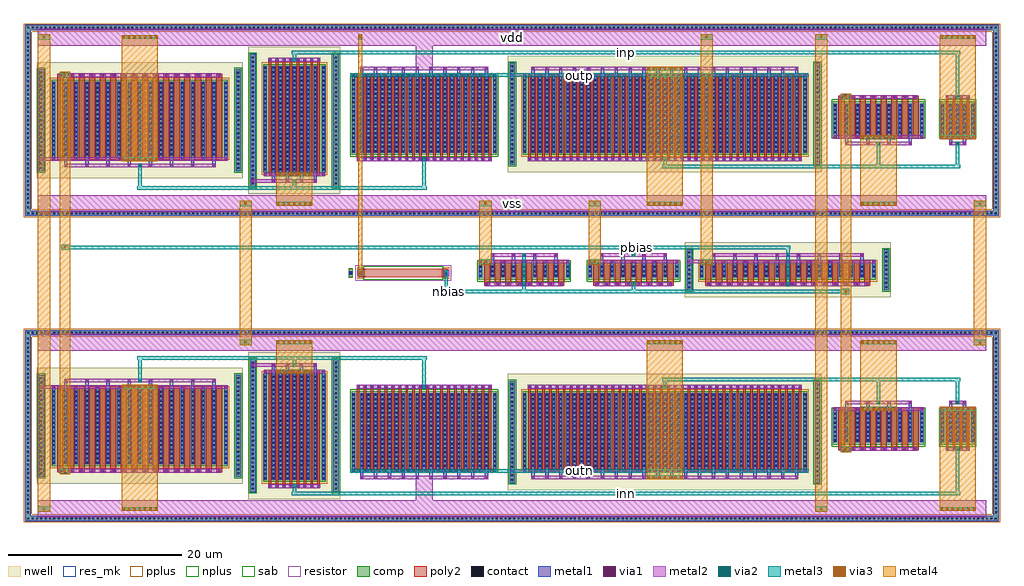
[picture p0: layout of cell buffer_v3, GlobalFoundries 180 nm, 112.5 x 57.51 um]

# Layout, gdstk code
import gdstk
lib = gdstk.Library(unit=1e-6, precision=1e-09)
def R(c, l, rs):  # rectangles x0, y0, x1, y1
    for r in rs: c.add(gdstk.rectangle(r[:2], r[2:], *l))
def A(c, l, x, y, w, h, nx, ny, dx, dy):  # array of equal rectangles
    R(c, l, [(x+i*dx, y+j*dy, x+i*dx+w, y+j*dy+h) for i in range(nx) for j in range(ny)])
nwell = (21, 0)
comp = (22, 0)
poly2 = (30, 0)
pplus = (31, 0)
nplus = (32, 0)
contact = (33, 0)
metal1 = (34, 0)
via1 = (35, 0)
metal2 = (36, 0)
via2 = (38, 0)
via3 = (40, 0)
metal3 = (42, 0)
metal4 = (46, 0)
sab = (49, 0)
resistor = (62, 0)
res_mk = (110, 5)

bufhalf = lib.new_cell('bufhalf')
R(bufhalf, nwell, [(25.61,-8.835,36.21,8.1), (1.23,-7.065,24.95,6.335), (26.88,-6.85,34.94,6.53), (55.51,-6.335,91.71,7.065), (2.5,-5.115,23.68,4.765), (56.78,-4.765,90.44,5.115)])
R(bufhalf, comp, [(-0.1,-11.365,112.08,-10.765), (-0.1,-10.765,0.5,10.03), (111.48,-10.765,112.08,10.03), (25.81,-8.015,26.43,7.28), (35.39,-8.015,36.01,7.28), (27.32,-6.41,27.78,6.09), (27.78,-6.41,34.04,6.09), (34.04,-6.41,34.5,6.09), (1.43,-6.245,2.05,5.515), (24.13,-6.245,24.75,5.515), (55.71,-5.515,56.33,6.245), (90.89,-5.515,91.51,6.245), (2.94,-4.675,3.4,4.325), (3.4,-4.675,22.78,4.325), (22.78,-4.675,23.24,4.325), (37.51,-4.33,37.93,4.67), (37.93,-4.33,53.79,4.67), (53.79,-4.33,54.21,4.67), (57.22,-4.325,57.68,4.675), (57.68,-4.325,89.54,4.675), (89.54,-4.325,90,4.675), (93.01,-2.195,93.43,1.805), (93.43,-2.195,103.05,1.805), (103.05,-2.195,103.47,1.805), (105.41,-2.195,105.83,1.805), (105.83,-2.195,108.89,1.805), (108.89,-2.195,109.31,1.805), (-0.1,10.03,112.08,10.63)])
A(bufhalf, poly2, 27.97, -6.71, 0.28, 13.1, 8, 1, 0.8, 0)
A(bufhalf, poly2, 57.82, -5.005, 0.38, 0.38, 40, 1, 0.8, 0)
A(bufhalf, poly2, 38.08, -4.99, 0.36, 0.36, 20, 1, 0.8, 0)
A(bufhalf, poly2, 3.59, -4.975, 0.7, 9.6, 16, 1, 1.22, 0)
A(bufhalf, poly2, 38.12, -4.63, 0.28, 9.6, 20, 1, 0.8, 0)
A(bufhalf, poly2, 57.87, -4.625, 0.28, 9.6, 40, 1, 0.8, 0)
A(bufhalf, poly2, 93.62, -2.495, 0.7, 4.6, 8, 1, 1.22, 0)
A(bufhalf, poly2, 106.02, -2.495, 0.28, 4.6, 4, 1, 0.8, 0)
A(bufhalf, poly2, 93.62, 2.105, 0.7, 0.36, 8, 1, 1.22, 0)
A(bufhalf, poly2, 105.98, 2.105, 0.36, 0.36, 4, 1, 0.8, 0)
A(bufhalf, poly2, 3.59, 4.625, 0.7, 0.38, 16, 1, 1.22, 0)
A(bufhalf, poly2, 27.92, 6.39, 0.38, 0.38, 8, 1, 0.8, 0)
R(bufhalf, pplus, [(-0.26,-11.525,112.24,-10.605), (-0.26,-10.925,0.66,10.19), (111.32,-10.925,112.24,10.19), (27.15,-6.65,34.67,6.33), (2.77,-4.915,23.41,4.565), (57.05,-4.565,90.17,4.915), (-0.26,9.87,112.24,10.79)])
R(bufhalf, nplus, [(25.65,-8.175,26.59,7.44), (35.23,-8.175,36.17,7.44), (1.27,-6.405,2.21,5.675), (23.97,-6.405,24.91,5.675), (55.55,-5.675,56.49,6.405), (90.73,-5.675,91.67,6.405), (37.34,-4.57,54.38,4.91), (92.84,-2.435,103.64,2.045), (105.24,-2.435,109.48,2.045)])
A(bufhalf, contact, 0.13, -11.175, 0.22, 0.22, 224, 2, 0.5, 21.395)
A(bufhalf, contact, 0.09, -10.48, 0.22, 0.22, 1, 11, 0, 0.5)
A(bufhalf, contact, 111.67, -10.48, 0.22, 0.22, 1, 11, 0, 0.5)
A(bufhalf, contact, 26.01, -7.73, 0.22, 0.22, 1, 5, 0, 0.5)
A(bufhalf, contact, 35.59, -7.73, 0.22, 0.22, 1, 5, 0, 0.5)
A(bufhalf, contact, 27.44, -6.135, 0.22, 0.22, 1, 24, 0, 0.51)
A(bufhalf, contact, 28.4, -6.135, 0.22, 0.22, 7, 24, 0.8, 0.51)
A(bufhalf, contact, 34.16, -6.135, 0.22, 0.22, 1, 24, 0, 0.51)
A(bufhalf, contact, 1.63, -5.975, 0.22, 0.22, 1, 23, 0, 0.5)
A(bufhalf, contact, 24.33, -5.975, 0.22, 0.22, 1, 23, 0, 0.5)
A(bufhalf, contact, 55.91, -5.245, 0.22, 0.22, 1, 23, 0, 0.5)
A(bufhalf, contact, 91.09, -5.245, 0.22, 0.22, 1, 23, 0, 0.5)
A(bufhalf, contact, 26.01, -5.225, 0.22, 0.22, 1, 16, 0, 0.5)
A(bufhalf, contact, 35.59, -5.225, 0.22, 0.22, 1, 16, 0, 0.5)
A(bufhalf, contact, 0.09, -4.975, 0.22, 0.22, 1, 15, 0, 0.5)
A(bufhalf, contact, 111.67, -4.975, 0.22, 0.22, 1, 15, 0, 0.5)
A(bufhalf, contact, 57.9, -4.925, 0.22, 0.22, 40, 1, 0.8, 0)
A(bufhalf, contact, 38.15, -4.92, 0.22, 0.22, 20, 1, 0.8, 0)
A(bufhalf, contact, 3.06, -4.365, 0.22, 0.22, 1, 17, 0, 0.51)
A(bufhalf, contact, 4.44, -4.365, 0.22, 0.22, 15, 17, 1.22, 0.51)
A(bufhalf, contact, 22.9, -4.365, 0.22, 0.22, 1, 17, 0, 0.51)
A(bufhalf, contact, 37.61, -4.02, 0.22, 0.22, 1, 17, 0, 0.51)
A(bufhalf, contact, 38.55, -4.02, 0.22, 0.22, 19, 17, 0.8, 0.51)
A(bufhalf, contact, 53.89, -4.02, 0.22, 0.22, 1, 17, 0, 0.51)
A(bufhalf, contact, 57.34, -4.015, 0.22, 0.22, 1, 17, 0, 0.51)
A(bufhalf, contact, 58.3, -4.015, 0.22, 0.22, 39, 17, 0.8, 0.51)
A(bufhalf, contact, 89.66, -4.015, 0.22, 0.22, 1, 17, 0, 0.51)
A(bufhalf, contact, 93.11, -1.835, 0.22, 0.22, 1, 7, 0, 0.51)
A(bufhalf, contact, 94.47, -1.835, 0.22, 0.22, 7, 7, 1.22, 0.51)
A(bufhalf, contact, 103.15, -1.835, 0.22, 0.22, 1, 7, 0, 0.51)
A(bufhalf, contact, 105.51, -1.835, 0.22, 0.22, 1, 7, 0, 0.51)
A(bufhalf, contact, 106.45, -1.835, 0.22, 0.22, 3, 7, 0.8, 0.51)
A(bufhalf, contact, 108.99, -1.835, 0.22, 0.22, 1, 7, 0, 0.51)
A(bufhalf, contact, 93.86, 2.175, 0.22, 0.22, 8, 1, 1.22, 0)
A(bufhalf, contact, 106.05, 2.175, 0.22, 0.22, 4, 1, 0.8, 0)
A(bufhalf, contact, 0.09, 2.52, 0.22, 0.22, 1, 15, 0, 0.5)
A(bufhalf, contact, 111.67, 2.52, 0.22, 0.22, 1, 15, 0, 0.5)
A(bufhalf, contact, 26.01, 2.77, 0.22, 0.22, 1, 9, 0, 0.5)
A(bufhalf, contact, 35.59, 2.77, 0.22, 0.22, 1, 9, 0, 0.5)
A(bufhalf, contact, 3.83, 4.705, 0.22, 0.22, 16, 1, 1.22, 0)
A(bufhalf, contact, 28, 6.47, 0.22, 0.22, 8, 1, 0.8, 0)
A(bufhalf, metal1, 28.32, -7.565, 0.38, 1.4, 4, 1, 1.6, 0)
A(bufhalf, metal1, 29.12, -6.815, 0.38, 0.65, 3, 1, 1.6, 0)
A(bufhalf, metal1, 28.32, -6.215, 0.38, 12.11, 7, 1, 0.8, 0)
A(bufhalf, metal1, 4.36, -5.795, 0.38, 1.4, 8, 1, 2.44, 0)
A(bufhalf, metal1, 5.58, -5.045, 0.38, 0.65, 7, 1, 2.44, 0)
A(bufhalf, metal1, 57.82, -5.005, 0.38, 0.38, 40, 1, 0.8, 0)
A(bufhalf, metal1, 38.07, -5, 0.38, 0.38, 20, 1, 0.8, 0)
A(bufhalf, metal1, 4.36, -4.445, 0.38, 8.54, 15, 1, 1.22, 0)
A(bufhalf, metal1, 38.47, -4.1, 0.38, 8.54, 19, 1, 0.8, 0)
A(bufhalf, metal1, 58.22, -4.095, 0.38, 8.54, 39, 1, 0.8, 0)
A(bufhalf, metal1, 94.39, -3.265, 0.38, 1.4, 4, 1, 2.44, 0)
A(bufhalf, metal1, 95.61, -2.515, 0.38, 0.65, 3, 1, 2.44, 0)
A(bufhalf, metal1, 105.43, -2.515, 0.38, 0.65, 3, 1, 1.74, 0)
A(bufhalf, metal1, 94.39, -1.915, 0.38, 3.44, 7, 1, 1.22, 0)
A(bufhalf, metal1, 106.37, -1.915, 0.38, 3.44, 3, 1, 0.8, 0)
A(bufhalf, metal1, 93.78, 2.095, 0.38, 0.38, 8, 1, 1.22, 0)
A(bufhalf, metal1, 105.97, 2.095, 0.38, 0.38, 4, 1, 0.8, 0)
A(bufhalf, metal1, 38.47, 4.39, 0.38, 1.4, 10, 1, 1.6, 0)
A(bufhalf, metal1, 39.27, 4.39, 0.38, 0.65, 9, 1, 1.6, 0)
A(bufhalf, metal1, 58.22, 4.395, 0.38, 1.4, 20, 1, 1.6, 0)
A(bufhalf, metal1, 59.02, 4.395, 0.38, 0.65, 19, 1, 1.6, 0)
A(bufhalf, metal1, 3.75, 4.625, 0.38, 0.38, 16, 1, 1.22, 0)
A(bufhalf, metal1, 27.92, 6.39, 0.38, 0.38, 8, 1, 0.8, 0)
R(bufhalf, metal1, [(-0.1,-11.365,112.08,-10.765), (-0.1,-10.765,0.5,10.03), (111.48,-10.765,112.08,10.03), (25.81,-8.015,26.43,7.28), (35.39,-8.015,36.01,7.28), (27.36,-6.815,27.74,-6.165), (34.08,-6.815,34.46,-6.165), (1.43,-6.245,2.05,5.515), (24.13,-6.245,24.75,5.515), (27.36,-6.215,27.74,5.895), (34.08,-6.215,34.46,5.895), (55.71,-5.515,56.33,6.245), (90.89,-5.515,91.51,6.245), (2.98,-5.045,3.36,-4.395), (22.82,-5.045,23.2,-4.395), (2.98,-4.445,3.36,4.095), (22.82,-4.445,23.2,4.095), (37.53,-4.1,37.91,4.44), (53.81,-4.1,54.19,4.44), (57.26,-4.095,57.64,4.445), (89.58,-4.095,89.96,4.445), (106.37,-3.265,106.75,-1.865), (107.97,-3.265,108.35,-1.865), (93.03,-2.515,93.41,-1.865), (103.07,-2.515,103.45,-1.865), (93.03,-1.915,93.41,1.525), (103.07,-1.915,103.45,1.525), (105.43,-1.915,105.81,1.525), (108.91,-1.915,109.29,1.525), (37.53,4.39,37.91,5.04), (53.81,4.39,54.19,5.04), (57.26,4.395,57.64,5.045), (89.58,4.395,89.96,5.045), (-0.1,10.03,112.08,10.63)])
A(bufhalf, via1, 28.38, -7.495, 0.26, 0.26, 4, 1, 1.6, 0)
A(bufhalf, via1, 29.18, -6.745, 0.26, 0.26, 3, 1, 1.6, 0)
A(bufhalf, via1, 4.42, -5.725, 0.26, 0.26, 8, 1, 2.44, 0)
A(bufhalf, via1, 5.64, -4.975, 0.26, 0.26, 7, 1, 2.44, 0)
A(bufhalf, via1, 57.88, -4.945, 0.26, 0.26, 40, 1, 0.8, 0)
A(bufhalf, via1, 38.13, -4.94, 0.26, 0.26, 20, 1, 0.8, 0)
A(bufhalf, via1, 94.45, -3.195, 0.26, 0.26, 4, 1, 2.44, 0)
A(bufhalf, via1, 95.67, -2.445, 0.26, 0.26, 3, 1, 2.44, 0)
A(bufhalf, via1, 105.49, -2.445, 0.26, 0.26, 3, 1, 1.74, 0)
A(bufhalf, via1, 93.84, 2.155, 0.26, 0.26, 8, 1, 1.22, 0)
A(bufhalf, via1, 106.03, 2.155, 0.26, 0.26, 4, 1, 0.8, 0)
A(bufhalf, via1, 3.81, 4.685, 0.26, 0.26, 16, 1, 1.22, 0)
A(bufhalf, via1, 39.33, 4.71, 0.26, 0.26, 9, 1, 1.6, 0)
A(bufhalf, via1, 59.08, 4.715, 0.26, 0.26, 19, 1, 1.6, 0)
A(bufhalf, via1, 38.53, 5.46, 0.26, 0.26, 10, 1, 1.6, 0)
A(bufhalf, via1, 58.28, 5.465, 0.26, 0.26, 20, 1, 1.6, 0)
A(bufhalf, via1, 27.98, 6.45, 0.26, 0.26, 8, 1, 0.8, 0)
R(bufhalf, via1, [(2.37,-11.145,2.63,-10.885), (109.35,-11.145,109.61,-10.885), (25.99,-7.495,26.25,-7.235), (27.42,-6.745,27.68,-6.485), (34.14,-6.745,34.4,-6.485), (1.61,-4.975,1.87,-4.715), (3.04,-4.975,3.3,-4.715), (22.88,-4.975,23.14,-4.715), (106.43,-3.195,106.69,-2.935), (108.03,-3.195,108.29,-2.935), (93.09,-2.445,93.35,-2.185), (103.13,-2.445,103.39,-2.185), (37.59,4.71,37.85,4.97), (53.87,4.71,54.13,4.97), (55.89,4.715,56.15,4.975), (57.32,4.715,57.58,4.975), (89.64,4.715,89.9,4.975)])
R(bufhalf, metal2, [(2.2,-11.265,2.8,-9.965), (109.18,-11.265,109.78,-9.965), (1.3,-10.94,110.68,-8.99), (28.83,-10.185,32.99,-9.745), (71.53,-10.185,75.69,-9.745), (96.16,-10.185,100.32,-9.745), (25.92,-7.565,31.11,-7.165), (28.32,-7.565,33.5,-7.165), (28.83,-6.835,32.99,-6.395), (27.36,-6.815,34.46,-6.415), (4.36,-5.795,21.82,-5.395), (11.01,-5.065,15.17,-4.625), (57.82,-5.065,89.4,-4.625), (38.07,-5.06,53.65,-4.62), (1.54,-5.045,13.29,-4.645), (2.98,-5.045,23.2,-4.645), (94.39,-3.265,102.09,-2.865), (106.37,-3.265,108.35,-2.865), (96.16,-2.535,100.32,-2.095), (105.28,-2.535,109.44,-2.095), (93.03,-2.515,103.45,-2.115), (105.43,-2.515,109.29,-2.115), (93.78,2.095,102.7,2.535), (105.97,2.095,108.75,2.535), (3.75,4.625,22.43,5.065), (37.53,4.64,54.19,5.04), (55.82,4.645,73.81,5.045), (57.26,4.645,89.96,5.045), (71.53,5.375,75.69,5.815), (38.47,5.39,53.25,5.79), (58.22,5.395,89,5.795), (44.885,5.59,46.835,9.23), (27.92,6.39,33.9,6.83), (1.3,8.255,110.68,10.205), (11.01,9.01,15.17,9.45), (105.28,9.01,109.44,9.45)])
A(bufhalf, via2, 28.92, -10.095, 0.26, 0.26, 7, 2, 0.62, 3.35)
A(bufhalf, via2, 71.62, -10.095, 0.26, 0.26, 7, 2, 0.62, 15.56)
A(bufhalf, via2, 96.25, -10.095, 0.26, 0.26, 7, 2, 0.62, 7.65)
A(bufhalf, via2, 11.1, -4.975, 0.26, 0.26, 7, 2, 0.62, 14.075)
A(bufhalf, via2, 105.37, -2.445, 0.26, 0.26, 7, 2, 0.62, 11.545)
A(bufhalf, via2, 37.67, 4.71, 0.26, 0.26, 27, 1, 0.62, 0)
R(bufhalf, via2, [(30.78,-7.495,31.04,-7.235), (12.96,-5.725,13.22,-5.465), (73.48,-4.975,73.74,-4.715), (45.73,-4.97,45.99,-4.71), (98.11,-3.195,98.37,-2.935), (107.23,-3.195,107.49,-2.935), (107.23,2.185,107.49,2.445), (73.48,4.715,73.74,4.975), (30.78,6.48,31.04,6.74)])
A(bufhalf, via3, 28.92, -10.095, 0.26, 0.26, 7, 2, 0.62, 3.35)
A(bufhalf, via3, 71.62, -10.095, 0.26, 0.26, 7, 2, 0.62, 15.56)
A(bufhalf, via3, 96.25, -10.095, 0.26, 0.26, 7, 2, 0.62, 7.65)
A(bufhalf, via3, 11.1, -4.975, 0.26, 0.26, 7, 2, 0.62, 14.075)
A(bufhalf, via3, 105.37, -2.445, 0.26, 0.26, 7, 2, 0.62, 11.545)
R(bufhalf, metal3, [(28.83,-10.185,32.99,-9.745), (71.53,-10.185,75.69,-9.745), (96.16,-10.185,100.32,-9.745), (12.79,-8.365,46.16,-7.965), (12.89,-8.365,13.29,-5.395), (30.71,-8.365,31.11,-7.165), (45.66,-8.365,46.06,-4.62), (28.83,-6.835,32.99,-6.395), (73.31,-5.865,107.66,-5.465), (73.41,-5.865,73.81,-4.625), (98.04,-5.865,98.44,-2.865), (107.16,-5.865,107.56,-2.865), (11.01,-5.065,15.17,-4.625), (96.16,-2.535,100.32,-2.095), (105.28,-2.535,109.44,-2.095), (107.16,2.095,107.56,7.63), (37.33,4.64,90.16,5.045), (71.53,5.375,75.69,5.815), (30.71,6.39,31.11,7.63), (30.61,7.23,107.66,7.63), (11.01,9.01,15.17,9.45), (105.28,9.01,109.44,9.45)])
R(bufhalf, metal4, [(28.83,-10.185,32.99,-6.395), (71.53,-10.185,75.69,5.815), (96.16,-10.185,100.32,-2.095), (11.01,-5.065,15.17,9.45), (105.28,-2.535,109.44,9.45)])
bufhalf.add(gdstk.Label('vdd', (1.8,9.23), layer=36, texttype=10))
bufhalf.add(gdstk.Label('vdd', (110.18,9.23), layer=36, texttype=10))
bufhalf.add(gdstk.Label('vss', (1.8,-9.965), layer=36, texttype=10))
bufhalf.add(gdstk.Label('vss', (110.18,-9.965), layer=36, texttype=10))
bufhalf.add(gdstk.Label('gn', (13.39,-8.165), layer=42, texttype=10))
bufhalf.add(gdstk.Label('gp', (73.91,-5.665), layer=42, texttype=10))
bufhalf.add(gdstk.Label('out', (63.745,4.84), layer=42, texttype=10))
bufhalf.add(gdstk.Label('in', (31.21,7.43), layer=42, texttype=10))

buffer_v3 = lib.new_cell('buffer_v3')
R(buffer_v3, nwell, [(75.92,-2.8,99.64,3.53), (77.19,-1.23,98.37,1.65)])
R(buffer_v3, comp, [(76.12,-1.98,76.74,2.71), (98.82,-1.98,99.44,2.71), (52.16,-0.795,52.58,1.205), (52.58,-0.795,62.2,1.205), (62.2,-0.795,62.62,1.205), (64.76,-0.795,65.18,1.205), (65.18,-0.795,74.8,1.205), (74.8,-0.795,75.22,1.205), (77.63,-0.79,78.09,1.21), (78.09,-0.79,97.47,1.21), (97.47,-0.79,97.93,1.21), (37.19,-0.5,37.61,0.5)])
A(buffer_v3, poly2, 78.28, -1.47, 0.7, 0.38, 16, 1, 1.22, 0)
A(buffer_v3, poly2, 52.77, -1.455, 0.7, 0.36, 8, 1, 1.22, 0)
A(buffer_v3, poly2, 65.37, -1.455, 0.7, 0.36, 8, 1, 1.22, 0)
A(buffer_v3, poly2, 52.77, -1.095, 0.7, 2.6, 8, 1, 1.22, 0)
A(buffer_v3, poly2, 65.37, -1.095, 0.7, 2.6, 8, 1, 1.22, 0)
A(buffer_v3, poly2, 78.28, -1.09, 0.7, 2.6, 16, 1, 1.22, 0)
R(buffer_v3, poly2, [(38.31,-0.5,48.59,0.5)])
R(buffer_v3, pplus, [(77.46,-1.03,98.1,1.45), (38.13,-0.68,38.95,0.68), (47.95,-0.68,48.77,0.68), (37.17,-0.52,37.63,0.52)])
R(buffer_v3, nplus, [(75.96,-2.14,76.9,2.87), (98.66,-2.14,99.6,2.87), (51.99,-1.035,62.79,1.445), (64.59,-1.035,75.39,1.445)])
A(buffer_v3, contact, 76.32, -1.745, 0.22, 0.22, 1, 9, 0, 0.5)
A(buffer_v3, contact, 99.02, -1.745, 0.22, 0.22, 1, 9, 0, 0.5)
A(buffer_v3, contact, 78.52, -1.39, 0.22, 0.22, 16, 1, 1.22, 0)
A(buffer_v3, contact, 53.01, -1.385, 0.22, 0.22, 8, 1, 1.22, 0)
A(buffer_v3, contact, 65.61, -1.385, 0.22, 0.22, 8, 1, 1.22, 0)
A(buffer_v3, contact, 52.26, -0.415, 0.22, 0.22, 1, 3, 0, 0.51)
A(buffer_v3, contact, 53.62, -0.415, 0.22, 0.22, 7, 3, 1.22, 0.51)
A(buffer_v3, contact, 62.3, -0.415, 0.22, 0.22, 1, 3, 0, 0.51)
A(buffer_v3, contact, 64.86, -0.415, 0.22, 0.22, 1, 3, 0, 0.51)
A(buffer_v3, contact, 66.22, -0.415, 0.22, 0.22, 7, 3, 1.22, 0.51)
A(buffer_v3, contact, 74.9, -0.415, 0.22, 0.22, 1, 3, 0, 0.51)
A(buffer_v3, contact, 77.75, -0.41, 0.22, 0.22, 1, 3, 0, 0.51)
A(buffer_v3, contact, 79.13, -0.41, 0.22, 0.22, 15, 3, 1.22, 0.51)
A(buffer_v3, contact, 97.59, -0.41, 0.22, 0.22, 1, 3, 0, 0.51)
R(buffer_v3, contact, [(37.29,-0.11,37.51,0.11), (38.38,-0.11,38.6,0.11), (48.3,-0.11,48.52,0.11)])
A(buffer_v3, metal1, 78.44, -1.47, 0.38, 0.38, 16, 1, 1.22, 0)
A(buffer_v3, metal1, 52.93, -1.465, 0.38, 0.38, 8, 1, 1.22, 0)
A(buffer_v3, metal1, 65.53, -1.465, 0.38, 0.38, 8, 1, 1.22, 0)
A(buffer_v3, metal1, 53.54, -0.495, 0.38, 1.4, 7, 1, 1.22, 0)
A(buffer_v3, metal1, 66.14, -0.495, 0.38, 1.4, 7, 1, 1.22, 0)
A(buffer_v3, metal1, 79.05, -0.49, 0.38, 1.4, 15, 1, 1.22, 0)
A(buffer_v3, metal1, 53.54, 0.855, 0.38, 1.4, 4, 1, 2.44, 0)
A(buffer_v3, metal1, 54.76, 0.855, 0.38, 0.65, 3, 1, 2.44, 0)
A(buffer_v3, metal1, 66.14, 0.855, 0.38, 1.4, 4, 1, 2.44, 0)
A(buffer_v3, metal1, 67.36, 0.855, 0.38, 0.65, 3, 1, 2.44, 0)
A(buffer_v3, metal1, 79.05, 0.86, 0.38, 1.4, 8, 1, 2.44, 0)
A(buffer_v3, metal1, 80.27, 0.86, 0.38, 0.65, 7, 1, 2.44, 0)
R(buffer_v3, metal1, [(76.12,-1.98,76.74,2.71), (98.82,-1.98,99.44,2.71), (52.18,-0.495,52.56,0.905), (62.22,-0.495,62.6,0.905), (64.78,-0.495,65.16,0.905), (74.82,-0.495,75.2,0.905), (77.67,-0.49,78.05,0.91), (97.51,-0.49,97.89,0.91), (37.21,-0.19,37.59,0.19), (38.3,-0.19,38.68,0.19), (48.22,-0.19,48.6,0.19), (52.18,0.855,52.56,1.505), (62.22,0.855,62.6,1.505), (64.78,0.855,65.16,1.505), (74.82,0.855,75.2,1.505), (77.67,0.86,78.05,1.51), (97.51,0.86,97.89,1.51)])
A(buffer_v3, via1, 78.5, -1.41, 0.26, 0.26, 16, 1, 1.22, 0)
A(buffer_v3, via1, 52.99, -1.405, 0.26, 0.26, 8, 1, 1.22, 0)
A(buffer_v3, via1, 65.59, -1.405, 0.26, 0.26, 8, 1, 1.22, 0)
A(buffer_v3, via1, 54.82, 1.175, 0.26, 0.26, 3, 1, 2.44, 0)
A(buffer_v3, via1, 67.42, 1.175, 0.26, 0.26, 3, 1, 2.44, 0)
A(buffer_v3, via1, 80.33, 1.18, 0.26, 0.26, 7, 1, 2.44, 0)
A(buffer_v3, via1, 53.6, 1.925, 0.26, 0.26, 4, 1, 2.44, 0)
A(buffer_v3, via1, 66.2, 1.925, 0.26, 0.26, 4, 1, 2.44, 0)
A(buffer_v3, via1, 79.11, 1.93, 0.26, 0.26, 8, 1, 2.44, 0)
R(buffer_v3, via1, [(38.36,-0.13,38.62,0.13), (48.28,-0.13,48.54,0.13), (52.24,1.175,52.5,1.435), (62.28,1.175,62.54,1.435), (64.84,1.175,65.1,1.435), (74.88,1.175,75.14,1.435), (76.3,1.18,76.56,1.44), (77.73,1.18,77.99,1.44), (97.57,1.18,97.83,1.44)])
R(buffer_v3, metal2, [(78.44,-1.53,97.12,-1.09), (52.93,-1.525,61.85,-1.085), (65.53,-1.525,74.45,-1.085), (38.14,-0.3,38.84,0.3), (48.06,-0.3,48.76,0.3), (52.18,1.105,62.6,1.505), (64.78,1.105,75.2,1.505), (76.23,1.11,87.98,1.51), (77.67,1.11,97.89,1.51), (53.54,1.855,61.24,2.255), (66.14,1.855,73.84,2.255), (79.05,1.86,96.51,2.26)])
R(buffer_v3, via2, [(1.92,-27.325,2.18,-27.065), (91.51,-27.325,91.77,-27.065), (4.32,-22.94,4.58,-22.68), (94.35,-20.41,94.61,-20.15), (25.15,-8.13,25.41,-7.87), (109.8,-8.13,110.06,-7.87), (87.65,-1.44,87.91,-1.18), (57.26,-1.435,57.52,-1.175), (69.86,-1.435,70.12,-1.175), (38.36,-0.13,38.62,0.13), (48.28,-0.13,48.54,0.13), (52.8,1.175,53.06,1.435), (65.4,1.175,65.66,1.435), (78.29,1.18,78.55,1.44), (57.26,1.925,57.52,2.185), (69.86,1.925,70.12,2.185), (87.65,1.93,87.91,2.19), (25.15,7.87,25.41,8.13), (52.8,7.87,53.06,8.13), (65.4,7.87,65.66,8.13), (109.8,7.87,110.06,8.13), (94.35,20.15,94.61,20.41), (4.32,22.68,4.58,22.94), (1.92,27.065,2.18,27.325), (38.36,27.065,38.62,27.325), (78.29,27.065,78.55,27.325), (91.51,27.065,91.77,27.325)])
R(buffer_v3, via3, [(1.92,-27.325,2.18,-27.065), (91.51,-27.325,91.77,-27.065), (4.32,-22.94,4.58,-22.68), (94.35,-20.41,94.61,-20.15), (25.15,-8.13,25.41,-7.87), (109.8,-8.13,110.06,-7.87), (94.35,-2.255,94.61,-1.995), (94.35,-2.255,94.61,-1.995), (38.36,-0.13,38.62,0.13), (52.8,1.175,53.06,1.435), (65.4,1.175,65.66,1.435), (78.29,1.18,78.55,1.44), (4.32,2.83,4.58,3.09), (4.32,2.83,4.58,3.09), (25.15,7.87,25.41,8.13), (52.8,7.87,53.06,8.13), (65.4,7.87,65.66,8.13), (109.8,7.87,110.06,8.13), (94.35,20.15,94.61,20.41), (4.32,22.68,4.58,22.94), (1.92,27.065,2.18,27.325), (38.36,27.065,38.62,27.325), (78.29,27.065,78.55,27.325), (91.51,27.065,91.77,27.325)])
R(buffer_v3, metal3, [(1.35,-27.495,2.75,-26.895), (90.94,-27.495,92.34,-26.895), (4.05,-23.11,4.85,-22.51), (94.08,-20.58,94.88,-19.98), (24.58,-8.3,25.98,-7.7), (109.23,-8.3,110.63,-7.7), (94.08,-2.425,94.88,-1.825), (94.08,-2.425,94.88,-1.825), (48.11,-2.325,70.29,-1.925), (48.21,-2.325,48.61,0.3), (57.19,-2.325,57.59,2.255), (57.19,-2.325,57.59,-1.085), (59,-2.325,94.68,-1.925), (59,-2.325,94.68,-1.925), (69.79,-2.325,70.19,-1.085), (87.58,-1.53,87.98,3.16), (38.24,-0.3,38.74,0.3), (52.23,1.025,53.63,1.585), (64.83,1.025,66.23,1.585), (77.72,1.03,79.12,1.59), (69.79,1.855,70.19,3.16), (87.58,1.86,87.98,3.16), (4.05,2.66,4.85,3.26), (4.05,2.66,4.85,3.26), (4.25,2.76,79.085,3.16), (4.25,2.76,79.085,3.16), (69.69,2.76,88.08,3.16), (24.58,7.7,25.98,8.3), (52.23,7.7,53.63,8.3), (64.83,7.7,66.23,8.3), (109.23,7.7,110.63,8.3), (94.08,19.98,94.88,20.58), (4.05,22.51,4.85,23.11), (1.35,26.895,2.75,27.495), (38.24,26.895,38.74,27.495), (77.72,26.895,79.12,27.495), (90.94,26.895,92.34,27.495)])
R(buffer_v3, metal4, [(1.35,-27.545,2.75,27.545), (90.94,-27.545,92.34,27.545), (3.85,-23.21,5.05,3.36), (93.88,-20.68,95.08,-1.725), (24.58,-8.35,25.98,8.35), (109.23,-8.35,110.63,8.35), (93.88,-2.525,95.08,20.68), (38.24,-0.35,38.74,27.545), (52.23,0.955,53.63,8.35), (64.83,0.955,66.23,8.35), (77.72,0.96,79.12,27.545), (3.85,2.56,5.05,23.21)])
R(buffer_v3, sab, [(38.85,-0.78,48.05,0.78)])
R(buffer_v3, resistor, [(37.91,-0.9,48.99,0.9)])
R(buffer_v3, res_mk, [(38.95,-0.5,47.95,0.5)])
buffer_v3.add(gdstk.Reference(bufhalf, (0,17.965)))
buffer_v3.add(gdstk.Reference(bufhalf, (0,-17.965), x_reflection=True))
buffer_v3.add(gdstk.Label('vdd', (55.99,27.195), layer=36, texttype=10))
buffer_v3.add(gdstk.Label('vss', (55.99,8), layer=36, texttype=10))
buffer_v3.add(gdstk.Label('nbias', (48.71,-2.125), layer=42, texttype=10))
buffer_v3.add(gdstk.Label('pbias', (70.29,2.96), layer=42, texttype=10))
buffer_v3.add(gdstk.Label('inp', (69.135,25.395), layer=42, texttype=10))
buffer_v3.add(gdstk.Label('outp', (63.745,22.805), layer=42, texttype=10))
buffer_v3.add(gdstk.Label('inn', (69.135,-25.395), layer=42, texttype=10))
buffer_v3.add(gdstk.Label('outn', (63.745,-22.805), layer=42, texttype=10))

lib.write_gds('buffer_v3.gds')
